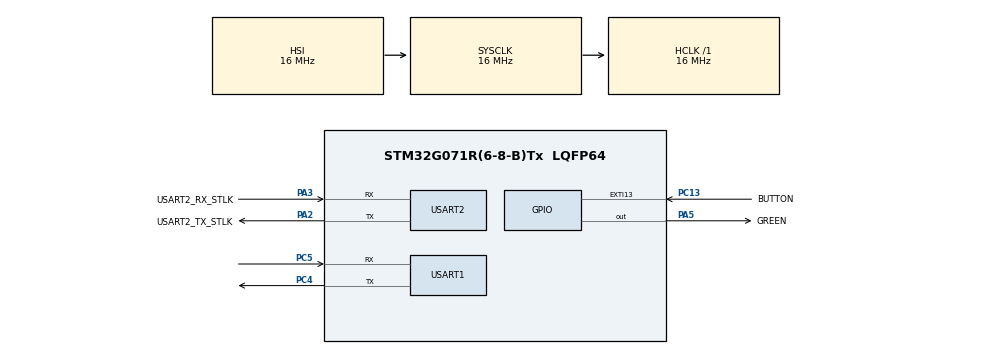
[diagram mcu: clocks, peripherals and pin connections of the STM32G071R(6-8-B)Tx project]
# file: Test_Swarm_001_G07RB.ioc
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Dma.Request0=USART1_RX
Dma.USART1_RX.0.Direction=DMA_PERIPH_TO_MEMORY
Dma.USART1_RX.0.EventEnable=DISABLE
Dma.USART1_RX.0.Instance=DMA1_Channel1
Dma.USART1_RX.0.MemDataAlignment=DMA_MDATAALIGN_BYTE
Dma.USART1_RX.0.MemInc=DMA_MINC_ENABLE
Dma.USART1_RX.0.Mode=DMA_NORMAL
Dma.USART1_RX.0.PeriphDataAlignment=DMA_PDATAALIGN_BYTE
Dma.USART1_RX.0.PeriphInc=DMA_PINC_DISABLE
Dma.USART1_RX.0.Polarity=HAL_DMAMUX_REQ_GEN_RISING
Dma.USART1_RX.0.Priority=DMA_PRIORITY_LOW
Dma.USART1_RX.0.RequestNumber=1
Dma.USART1_RX.0.SignalID=NONE
Dma.USART1_RX.0.SyncEnable=DISABLE
Dma.USART1_RX.0.SyncPolarity=HAL_DMAMUX_SYNC_NO_EVENT
Dma.USART1_RX.0.SyncRequestNumber=1
Dma.USART1_RX.0.SyncSignalID=NONE
Mcu.Family=STM32G0
Mcu.Name=STM32G071R(6-8-B)Tx
Mcu.Package=LQFP64
NVIC.DMA1_Channel1_IRQn=true\:0\:0\:false\:false\:true\:false\:true\:true
NVIC.EXTI4_15_IRQn=true\:0\:0\:false\:false\:true\:true\:true\:true
NVIC.RTC_TAMP_IRQn=true\:0\:0\:false\:false\:true\:true\:true\:true
NVIC.TIM6_DAC_LPTIM1_IRQn=true\:0\:0\:false\:false\:true\:true\:true\:true
NVIC.USART1_IRQn=true\:0\:0\:false\:false\:true\:true\:true\:true
PA13.GPIO_Label=TMS
PA13.Mode=Serial_Wire
PA13.Signal=SYS_SWDIO
PA14-BOOT0.GPIO_Label=TCK
PA14-BOOT0.Mode=Serial_Wire
PA14-BOOT0.Signal=SYS_SWCLK
PA2.GPIO_Label=USART2_TX_STLK
PA2.GPIO_PuPd=GPIO_PULLUP
PA2.Mode=Asynchronous
PA2.Signal=USART2_TX
PA3.GPIO_Label=USART2_RX_STLK
PA3.GPIO_PuPd=GPIO_PULLUP
PA3.Mode=Asynchronous
PA3.Signal=USART2_RX
PA5.GPIO_Label=GREEN
PA5.GPIO_Speed=GPIO_SPEED_FREQ_HIGH
PA5.Signal=GPIO_Output
PC13.GPIO_Label=BUTTON
PC13.Signal=GPXTI13
PC14-OSC32_IN\ (PC14).Mode=LSE-External-Oscillator
PC14-OSC32_IN\ (PC14).Signal=RCC_OSC32_IN
PC15-OSC32_OUT\ (PC15).Mode=LSE-External-Oscillator
PC15-OSC32_OUT\ (PC15).Signal=RCC_OSC32_OUT
PC4.Mode=Asynchronous
PC4.Signal=USART1_TX
PC5.Mode=Asynchronous
PC5.Signal=USART1_RX
PF0-OSC_IN\ (PF0).GPIO_Label=MCO
PF0-OSC_IN\ (PF0).Mode=HSE-External-Clock-Source
PF0-OSC_IN\ (PF0).Signal=RCC_OSC_IN
ProjectManager.HeapSize=0x200
ProjectManager.StackSize=0x400
ProjectManager.TargetToolchain=STM32CubeIDE
RCC.AHBFreq_Value=16000000
RCC.CortexFreq_Value=16000000
RCC.EXTERNAL_CLOCK_VALUE=12288000
RCC.HCLKFreq_Value=16000000
RCC.HSE_VALUE=8000000
RCC.HSI_VALUE=16000000
RCC.RTCClockSelection=RCC_RTCCLKSOURCE_LSE
RCC.SYSCLKFreq_VALUE=16000000
RCC.VCOOutputFreq_Value=128000000
RTC.Format=RTC_FORMAT_BIN
RTC.WakeUpClock-WakeUp=RTC_WAKEUPCLOCK_CK_SPRE_16BITS
RTC.WakeUpCounter-WakeUp=3600
TIM6.AutoReloadPreload=TIM_AUTORELOAD_PRELOAD_ENABLE
TIM6.Period=2000-1
TIM6.Prescaler=16000-1
USART1.VirtualMode-Asynchronous=VM_ASYNC
USART2.VirtualMode-Asynchronous=VM_ASYNC
VP_RTC_VS_RTC_Activate.Mode=RTC_Enabled
VP_RTC_VS_RTC_Calendar.Mode=RTC_Calendar
VP_RTC_VS_RTC_WakeUp_intern.Mode=WakeUp
VP_TIM6_VS_ClockSourceINT.Mode=Enable_Timer
board=NUCLEO-G071RB

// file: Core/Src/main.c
/* USER CODE BEGIN Header */
/**
  ******************************************************************************
  * @file           : main.c
  * @brief          : Main program body
  ******************************************************************************
  * @attention
  *
  * Copyright (c) 2022 STMicroelectronics.
  * All rights reserved.
  *
  * This software is licensed under terms that can be found in the LICENSE file
  * in the root directory of this software component.
  * If no LICENSE file comes with this software, it is provided AS-IS.
  *
  ******************************************************************************
  */
/* USER CODE END Header */
#include "main.h"

/* USER CODE BEGIN Includes */
#include <stdio.h>
#include <string.h>
/* USER CODE END Includes */

/* USER CODE BEGIN PD */
#define UART_TX_TIMEOUT			100
#define RX_BUFF_SIZE			500
#define AT_COMM_TX_BUFF_SIZE	25
/* USER CODE END PD */

RTC_HandleTypeDef hrtc;

TIM_HandleTypeDef htim6;

UART_HandleTypeDef huart1;
UART_HandleTypeDef huart2;
DMA_HandleTypeDef hdma_usart1_rx;

/* USER CODE BEGIN PV */
uint16_t			checklist				= 0 ; //docelowo każdy bit będzie odpowiedzialny za kolejny krok aplikacji
uint8_t				waiting_for_answer		= 0 ;

char                hello[]         		= "Hello! Test_Swarm_001_G071RB\n" ;
char                good[]         			= "So far, so good !\n" ;
char                stm32_shutdown[]        = "STM32_Shutdown\n" ;
char                stm32_wakeup[]         	= "STM32 Wake Up\n" ;
HAL_StatusTypeDef   uart_status ;
uint8_t             rx_buff[RX_BUFF_SIZE] ;
char				tx_buff[AT_COMM_TX_BUFF_SIZE] ;

// SWARM AT Commands
const char 			cs_at_comm[]			= "$CS" ;
const char 			rt_0_at_comm[]			= "$RT 0" ;
const char			rt_q_rate_at_comm[]		= "$RT ?" ;
const char 			pw_0_at_comm[]			= "$PW 0" ;
const char			pw_q_rate_at_comm[]		= "$PW ?" ;
const char 			pw_mostrecent_at_comm[]	= "$PW @" ;
const char 			dt_0_at_comm[]			= "$DT 0" ;
const char			dt_q_rate_at_comm[]		= "$DT ?" ;
const char 			gs_0_at_comm[]			= "$GS 0" ;
const char			gs_q_rate_at_comm[]		= "$GS ?" ;
const char 			gj_0_at_comm[]			= "$GJ 0" ;
const char			gj_q_rate_at_comm[]		= "$GJ ?" ;
const char 			gn_0_at_comm[]			= "$GN 0" ;
const char			gn_q_rate_at_comm[]		= "$GN ?" ;
const char 			gn_mostrecent_at_comm[]	= "$GN @" ;
const char 			dt_mostrecent_at_comm[]	= "$DT @" ;
const char 			mt_del_all_at_comm[]	= "$MT D=U" ;
const char 			td_mzo_at_comm[]		= "$TD HD=300,\"MZO\"" ; // 5 minut na wysłanie wiadmości
const char 			sl_3ks_at_comm[]		= "$SL S=3000" ; // 50 minut spania dla Swarm
uint8_t				rt_unsolicited 			= 1 ;

// SWARM AT Answers
const char          cs_answer[]				= "$CS DI=0x" ;
const char          rt_ok_answer[]			= "$RT OK*22" ;
const char          rt_0_answer[]			= "$RT 0*16" ;
const char          pw_ok_answer[]			= "$PW OK*23" ;
const char          pw_0_answer[]			= "$PW 0*17" ;
const char          pw_mostrecent_answer[]	= "$PW " ;
const char          dt_ok_answer[]			= "$DT OK*34" ;
const char          dt_0_answer[]			= "$DT 0*00" ;
const char          gs_ok_answer[]			= "$GS OK*30" ;
const char          gs_0_answer[]			= "$GS 0*04" ;
const char          gj_ok_answer[]			= "$GJ OK*29" ;
const char          gj_0_answer[]			= "$GJ 0*1d" ;
const char          gn_ok_answer[]			= "$GN OK*2d" ;
const char          gn_0_answer[]			= "$GN 0*19" ;
const char          gn_mostrecent_answer[]	= "$GN " ;
const char 			mt_del_all_answer[]		= "$MT " ; // nie wiadomo ile ich będzie dlatego nie mogę ustawić "$MT 0*09"
const char 			td_ok_answer[]			= "$TD OK," ;
const char          sl_ok_answer[]			= "$SL OK*3b" ;

/* USER CODE END PV */

void SystemClock_Config(void);
static void MX_GPIO_Init(void);
static void MX_DMA_Init(void);
static void MX_USART2_UART_Init(void);
static void MX_RTC_Init(void);
static void MX_USART1_UART_Init(void);
static void MX_TIM6_Init(void);
/* USER CODE BEGIN PFP */
void send2swarm_at_command ( const char* at_command , const char* answer , uint16_t step ) ;
void send2swarm_rt_0 () ;
void send2swarm_rt_query_rate () ;
uint8_t check_answer ( const char* s ) ;
uint8_t nmea_checksum ( const char *sz , size_t len ) ;
/* USER CODE END PFP */

int main(void)
{

  /* MCU Configuration--------------------------------------------------------*/

  /* Reset of all peripherals, Initializes the Flash interface and the Systick. */
  HAL_Init();

  /* Configure the system clock */
  SystemClock_Config();

  /* Initialize all configured peripherals */
  MX_GPIO_Init();
  MX_DMA_Init();
  MX_USART2_UART_Init();
  MX_RTC_Init();
  MX_USART1_UART_Init();
  MX_TIM6_Init();
  /* USER CODE BEGIN 2 */
  //HAL_RTCEx_DeactivateWakeUpTimer ( &hrtc ) ;
  __HAL_TIM_CLEAR_IT ( &htim6 , TIM_IT_UPDATE ) ; // żeby nie generować przerwania TIM6 od razu: https://stackoverflow.com/questions/71099885/why-hal-tim-periodelapsedcallback-gets-called-immediately-after-hal-tim-base-sta

  uart_status = HAL_UART_Transmit ( &huart2 , (const uint8_t *) hello , strlen ( hello ) , UART_TX_TIMEOUT ) ;
  HAL_Delay ( 15000 ) ; // Wait for Swarm boot
  HAL_UARTEx_ReceiveToIdle_DMA ( &huart1 , rx_buff , sizeof ( rx_buff ) ) ;
  /* USER CODE END 2 */

  /* Infinite loop */
  /* USER CODE BEGIN WHILE */

  while ( 1 )
  {
	  send2swarm_at_command ( cs_at_comm , cs_answer , 1 ) ;
	  if ( checklist == 1 )
		  send2swarm_at_command ( rt_0_at_comm , rt_ok_answer , 2 ) ;
	  if ( checklist == 2 )
	  	  send2swarm_at_command ( rt_q_rate_at_comm , rt_0_answer , 3 ) ; // Query RT rate
	  if ( checklist == 3 )
	  	send2swarm_at_command ( pw_0_at_comm , pw_ok_answer , 4 ) ;
	  if ( checklist == 4 )
	  	  send2swarm_at_command ( pw_q_rate_at_comm , pw_0_answer , 5 ) ;
	  if ( checklist == 5 )
	  	  send2swarm_at_command ( pw_mostrecent_at_comm , pw_mostrecent_answer , 6 ) ;
	  if ( checklist == 6 )
		  send2swarm_at_command ( dt_0_at_comm , dt_ok_answer , 7 ) ;
	  if ( checklist == 7 )
		  send2swarm_at_command ( dt_q_rate_at_comm , dt_0_answer , 8 ) ;
	  if ( checklist == 8 )
		  send2swarm_at_command ( gs_0_at_comm , gs_ok_answer , 9 ) ;
	  if ( checklist == 9 )
		  send2swarm_at_command ( gs_q_rate_at_comm , gs_0_answer , 10 ) ;
	  if ( checklist == 10 )
	  	  send2swarm_at_command ( gj_0_at_comm , gj_ok_answer , 11 ) ;
	  if ( checklist == 11 )
	  	  send2swarm_at_command ( gj_q_rate_at_comm , gj_0_answer , 12 ) ;
	  if ( checklist == 12 )
	  	  send2swarm_at_command ( gn_0_at_comm , gn_ok_answer , 13 ) ;
	  if ( checklist == 13 )
		  send2swarm_at_command ( gn_q_rate_at_comm , gn_0_answer , 14 ) ;
	  if ( checklist == 14 )
		  send2swarm_at_command ( gn_mostrecent_at_comm , gn_mostrecent_answer , 15 ) ;
	  if ( checklist == 15 )
		  send2swarm_at_command ( mt_del_all_at_comm , mt_del_all_answer , 16 ) ;
	  if ( checklist == 16 )
	  	  send2swarm_at_command ( td_mzo_at_comm , td_ok_answer , 17 ) ;
	  if ( checklist == 17 )
	  	  uart_status = HAL_UART_Transmit ( &huart2 , (const uint8_t *) good , strlen ( good ) , UART_TX_TIMEOUT ) ;
	  HAL_Delay ( 310000) ; // 5min. i 10 sekund obejmujące 5 minut na wysłanie wiadomości
	  send2swarm_at_command ( sl_3ks_at_comm , sl_ok_answer , 18 ) ; // Swarm sleep for 50 minutes
	  uart_status = HAL_UART_Transmit ( &huart2 , (const uint8_t *) stm32_shutdown , strlen ( stm32_shutdown ) , UART_TX_TIMEOUT ) ;
	  HAL_PWREx_EnterSHUTDOWNMode () ; // Enter the SHUTDOWN mode
	  uart_status = HAL_UART_Transmit ( &huart2 , (const uint8_t *) stm32_wakeup , strlen ( stm32_wakeup ) , UART_TX_TIMEOUT ) ;
	  checklist = 0 ;
    /* USER CODE END WHILE */

  }
}

void SystemClock_Config(void)
{
  RCC_OscInitTypeDef RCC_OscInitStruct = {0};
  RCC_ClkInitTypeDef RCC_ClkInitStruct = {0};

  /** Configure the main internal regulator output voltage
  */
  HAL_PWREx_ControlVoltageScaling(PWR_REGULATOR_VOLTAGE_SCALE1);

  /** Configure LSE Drive Capability
  */
  HAL_PWR_EnableBkUpAccess();
  __HAL_RCC_LSEDRIVE_CONFIG(RCC_LSEDRIVE_LOW);

  /** Initializes the RCC Oscillators according to the specified parameters
  * in the RCC_OscInitTypeDef structure.
  */
  RCC_OscInitStruct.OscillatorType = RCC_OSCILLATORTYPE_HSI|RCC_OSCILLATORTYPE_LSE;
  RCC_OscInitStruct.LSEState = RCC_LSE_ON;
  RCC_OscInitStruct.HSIState = RCC_HSI_ON;
  RCC_OscInitStruct.HSIDiv = RCC_HSI_DIV1;
  RCC_OscInitStruct.HSICalibrationValue = RCC_HSICALIBRATION_DEFAULT;
  RCC_OscInitStruct.PLL.PLLState = RCC_PLL_NONE;
  if (HAL_RCC_OscConfig(&RCC_OscInitStruct) != HAL_OK)
  {
    Error_Handler();
  }

  /** Initializes the CPU, AHB and APB buses clocks
  */
  RCC_ClkInitStruct.ClockType = RCC_CLOCKTYPE_HCLK|RCC_CLOCKTYPE_SYSCLK
                              |RCC_CLOCKTYPE_PCLK1;
  RCC_ClkInitStruct.SYSCLKSource = RCC_SYSCLKSOURCE_HSI;
  RCC_ClkInitStruct.AHBCLKDivider = RCC_SYSCLK_DIV1;
  RCC_ClkInitStruct.APB1CLKDivider = RCC_HCLK_DIV1;

  if (HAL_RCC_ClockConfig(&RCC_ClkInitStruct, FLASH_LATENCY_0) != HAL_OK)
  {
    Error_Handler();
  }
}

static void MX_RTC_Init(void)
{

  RTC_TimeTypeDef sTime = {0};
  RTC_DateTypeDef sDate = {0};

  /** Initialize RTC Only
  */
  hrtc.Instance = RTC;
  hrtc.Init.HourFormat = RTC_HOURFORMAT_24;
  hrtc.Init.AsynchPrediv = 127;
  hrtc.Init.SynchPrediv = 255;
  hrtc.Init.OutPut = RTC_OUTPUT_DISABLE;
  hrtc.Init.OutPutRemap = RTC_OUTPUT_REMAP_NONE;
  hrtc.Init.OutPutPolarity = RTC_OUTPUT_POLARITY_HIGH;
  hrtc.Init.OutPutType = RTC_OUTPUT_TYPE_OPENDRAIN;
  hrtc.Init.OutPutPullUp = RTC_OUTPUT_PULLUP_NONE;
  if (HAL_RTC_Init(&hrtc) != HAL_OK)
  {
    Error_Handler();
  }

  /** Initialize RTC and set the Time and Date
  */
  sTime.Hours = 0;
  sTime.Minutes = 0;
  sTime.Seconds = 0;
  sTime.SubSeconds = 0;
  sTime.DayLightSaving = RTC_DAYLIGHTSAVING_NONE;
  sTime.StoreOperation = RTC_STOREOPERATION_RESET;
  if (HAL_RTC_SetTime(&hrtc, &sTime, RTC_FORMAT_BIN) != HAL_OK)
  {
    Error_Handler();
  }
  sDate.WeekDay = RTC_WEEKDAY_MONDAY;
  sDate.Month = RTC_MONTH_JANUARY;
  sDate.Date = 1;
  sDate.Year = 0;

  if (HAL_RTC_SetDate(&hrtc, &sDate, RTC_FORMAT_BIN) != HAL_OK)
  {
    Error_Handler();
  }

  /** Enable the WakeUp
  */
  if (HAL_RTCEx_SetWakeUpTimer_IT(&hrtc, 3600, RTC_WAKEUPCLOCK_CK_SPRE_16BITS) != HAL_OK)
  {
    Error_Handler();
  }

}

static void MX_TIM6_Init(void)
{

  TIM_MasterConfigTypeDef sMasterConfig = {0};

  htim6.Instance = TIM6;
  htim6.Init.Prescaler = 16000-1;
  htim6.Init.CounterMode = TIM_COUNTERMODE_UP;
  htim6.Init.Period = 2000-1;
  htim6.Init.AutoReloadPreload = TIM_AUTORELOAD_PRELOAD_ENABLE;
  if (HAL_TIM_Base_Init(&htim6) != HAL_OK)
  {
    Error_Handler();
  }
  sMasterConfig.MasterOutputTrigger = TIM_TRGO_RESET;
  sMasterConfig.MasterSlaveMode = TIM_MASTERSLAVEMODE_DISABLE;
  if (HAL_TIMEx_MasterConfigSynchronization(&htim6, &sMasterConfig) != HAL_OK)
  {
    Error_Handler();
  }

}

static void MX_USART1_UART_Init(void)
{

  huart1.Instance = USART1;
  huart1.Init.BaudRate = 115200;
  huart1.Init.WordLength = UART_WORDLENGTH_8B;
  huart1.Init.StopBits = UART_STOPBITS_1;
  huart1.Init.Parity = UART_PARITY_NONE;
  huart1.Init.Mode = UART_MODE_TX_RX;
  huart1.Init.HwFlowCtl = UART_HWCONTROL_NONE;
  huart1.Init.OverSampling = UART_OVERSAMPLING_16;
  huart1.Init.OneBitSampling = UART_ONE_BIT_SAMPLE_DISABLE;
  huart1.Init.ClockPrescaler = UART_PRESCALER_DIV1;
  huart1.AdvancedInit.AdvFeatureInit = UART_ADVFEATURE_NO_INIT;
  if (HAL_UART_Init(&huart1) != HAL_OK)
  {
    Error_Handler();
  }
  if (HAL_UARTEx_SetTxFifoThreshold(&huart1, UART_TXFIFO_THRESHOLD_1_8) != HAL_OK)
  {
    Error_Handler();
  }
  if (HAL_UARTEx_SetRxFifoThreshold(&huart1, UART_RXFIFO_THRESHOLD_1_8) != HAL_OK)
  {
    Error_Handler();
  }
  if (HAL_UARTEx_DisableFifoMode(&huart1) != HAL_OK)
  {
    Error_Handler();
  }

}

static void MX_USART2_UART_Init(void)
{

  huart2.Instance = USART2;
  huart2.Init.BaudRate = 115200;
  huart2.Init.WordLength = UART_WORDLENGTH_8B;
  huart2.Init.StopBits = UART_STOPBITS_1;
  huart2.Init.Parity = UART_PARITY_NONE;
  huart2.Init.Mode = UART_MODE_TX_RX;
  huart2.Init.HwFlowCtl = UART_HWCONTROL_NONE;
  huart2.Init.OverSampling = UART_OVERSAMPLING_16;
  huart2.Init.OneBitSampling = UART_ONE_BIT_SAMPLE_DISABLE;
  huart2.Init.ClockPrescaler = UART_PRESCALER_DIV1;
  huart2.AdvancedInit.AdvFeatureInit = UART_ADVFEATURE_NO_INIT;
  if (HAL_UART_Init(&huart2) != HAL_OK)
  {
    Error_Handler();
  }
  if (HAL_UARTEx_SetTxFifoThreshold(&huart2, UART_TXFIFO_THRESHOLD_1_8) != HAL_OK)
  {
    Error_Handler();
  }
  if (HAL_UARTEx_SetRxFifoThreshold(&huart2, UART_RXFIFO_THRESHOLD_1_8) != HAL_OK)
  {
    Error_Handler();
  }
  if (HAL_UARTEx_DisableFifoMode(&huart2) != HAL_OK)
  {
    Error_Handler();
  }

}

static void MX_DMA_Init(void)
{

  /* DMA controller clock enable */
  __HAL_RCC_DMA1_CLK_ENABLE();

  /* DMA interrupt init */
  /* DMA1_Channel1_IRQn interrupt configuration */
  HAL_NVIC_SetPriority(DMA1_Channel1_IRQn, 0, 0);
  HAL_NVIC_EnableIRQ(DMA1_Channel1_IRQn);

}

static void MX_GPIO_Init(void)
{
  GPIO_InitTypeDef GPIO_InitStruct = {0};

  /* GPIO Ports Clock Enable */
  __HAL_RCC_GPIOC_CLK_ENABLE();
  __HAL_RCC_GPIOF_CLK_ENABLE();
  __HAL_RCC_GPIOA_CLK_ENABLE();

  /*Configure GPIO pin Output Level */
  HAL_GPIO_WritePin(GREEN_GPIO_Port, GREEN_Pin, GPIO_PIN_RESET);

  /*Configure GPIO pin : BUTTON_Pin */
  GPIO_InitStruct.Pin = BUTTON_Pin;
  GPIO_InitStruct.Mode = GPIO_MODE_IT_RISING;
  GPIO_InitStruct.Pull = GPIO_NOPULL;
  HAL_GPIO_Init(BUTTON_GPIO_Port, &GPIO_InitStruct);

  /*Configure GPIO pin : GREEN_Pin */
  GPIO_InitStruct.Pin = GREEN_Pin;
  GPIO_InitStruct.Mode = GPIO_MODE_OUTPUT_PP;
  GPIO_InitStruct.Pull = GPIO_NOPULL;
  GPIO_InitStruct.Speed = GPIO_SPEED_FREQ_HIGH;
  HAL_GPIO_Init(GREEN_GPIO_Port, &GPIO_InitStruct);

  /* EXTI interrupt init*/
  HAL_NVIC_SetPriority(EXTI4_15_IRQn, 0, 0);
  HAL_NVIC_EnableIRQ(EXTI4_15_IRQn);

}

/* USER CODE BEGIN 4 */
void HAL_UARTEx_RxEventCallback ( UART_HandleTypeDef *huart , uint16_t Size )
{
    if ( huart->Instance == USART1 )
    {
    	if ( rx_buff[0] != 0 )
    	{
    		// Jeśli dostałem potwierdzenie $RT = 0, to ustawiam odpowiednią zmienną
    		if ( strncmp ( (char*) rx_buff , rt_0_answer , strlen ( rt_0_answer ) ) == 0 )
    		{
    			rt_unsolicited = 0 ;
    			__NOP () ;
    		}
    		if ( strncmp ( (char*) rx_buff , rt_ok_answer , strlen ( rt_ok_answer ) ) == 0 )
    		{
    			__NOP () ;
    		}
    		//rx_buff[0] = 0 ;
    	}
    }
    HAL_UARTEx_ReceiveToIdle_DMA ( &huart1 , rx_buff , sizeof ( rx_buff ) ) ;
}
void send2swarm_rt_query_rate ()
{
	const char rt_q_rate_at_comm[] = "$RT ?" ;
	uint8_t cs = nmea_checksum ( rt_q_rate_at_comm , strlen ( rt_q_rate_at_comm ) ) ;
	char uart_tx_buff[10] ;

	sprintf ( (char*) uart_tx_buff , "%s*%02x\n" , rt_q_rate_at_comm , cs ) ;
	uart_status = HAL_UART_Transmit ( &huart1 , (const uint8_t *) uart_tx_buff ,  strlen ( (char*) uart_tx_buff ) , UART_TX_TIMEOUT ) ;
	waiting_for_answer = 1 ;
	HAL_TIM_Base_Start_IT ( &htim6 ) ;
		while ( waiting_for_answer )
		{
			if ( check_answer ( rt_0_answer ) )
			{
				checklist = 2 ;
				break ;
			}
		}
}
void send2swarm_rt_0 ()
{
	const char rt_0_at_comm[] = "$RT 0" ;
	uint8_t cs = nmea_checksum ( rt_0_at_comm , strlen ( rt_0_at_comm ) ) ;
	char uart_tx_buff[10] ;

	sprintf ( (char*) uart_tx_buff , "%s*%02x\n" , rt_0_at_comm , cs ) ;
	uart_status = HAL_UART_Transmit ( &huart1 , (const uint8_t *) uart_tx_buff ,  strlen ( (char*) uart_tx_buff ) , UART_TX_TIMEOUT ) ;
	waiting_for_answer = 1 ;
	HAL_TIM_Base_Start_IT ( &htim6 ) ;
	while ( waiting_for_answer )
	{
		/*
		 * Sprawdzić uważnie, bo przy "rt_ok_answer" poniższa funkcja wszystko puszczała
		 */
		if ( check_answer ( rt_ok_answer ) )
		{
			checklist = 1 ;
			break ;
		}
	}
}
void send2swarm_at_command ( const char* at_command , const char* answer , uint16_t step )
{
	uint8_t cs = nmea_checksum ( at_command , strlen ( at_command ) ) ;
	char uart_tx_buff[250] ;

	sprintf ( (char*) uart_tx_buff , "%s*%02x\n" , at_command , cs ) ;
	uart_status = HAL_UART_Transmit ( &huart1 , (const uint8_t *) uart_tx_buff ,  strlen ( (char*) uart_tx_buff ) , UART_TX_TIMEOUT ) ;
	waiting_for_answer = 1 ;
	HAL_TIM_Base_Start_IT ( &htim6 ) ;
	while ( waiting_for_answer )
	{
		if ( check_answer ( answer ) )
		{
			checklist = step ;
			break ;
		}
	}
}
uint8_t check_answer ( const char* answer )
{
	if ( strncmp ( (char*) rx_buff , answer , strlen ( answer ) ) == 0 )
	{
		rx_buff[0] = 0 ;
		return 1 ;
	}
	else
		return 0 ;
}
uint8_t nmea_checksum ( const char *sz , size_t len )
{
	size_t i = 0 ;
	uint8_t cs ;
	if ( sz [0] == '$' )
		i++ ;
	for ( cs = 0 ; ( i < len ) && sz [i] ; i++ )
		cs ^= ( (uint8_t) sz [i] ) ;
	return cs;
}
void HAL_TIM_PeriodElapsedCallback ( TIM_HandleTypeDef *htim )
{
	if ( htim->Instance == TIM6 )
	{
		waiting_for_answer = 0 ;
		HAL_TIM_Base_Stop_IT ( &htim6 ) ;
		//NVIC_SystemReset () ; // Może kiedyś przyda się restartowanie aplikacji przy problemach z hardware
		__NOP () ;
	}
}

/* USER CODE END 4 */

void Error_Handler(void)
{
  __disable_irq();
  while (1)
  {
  }
}
